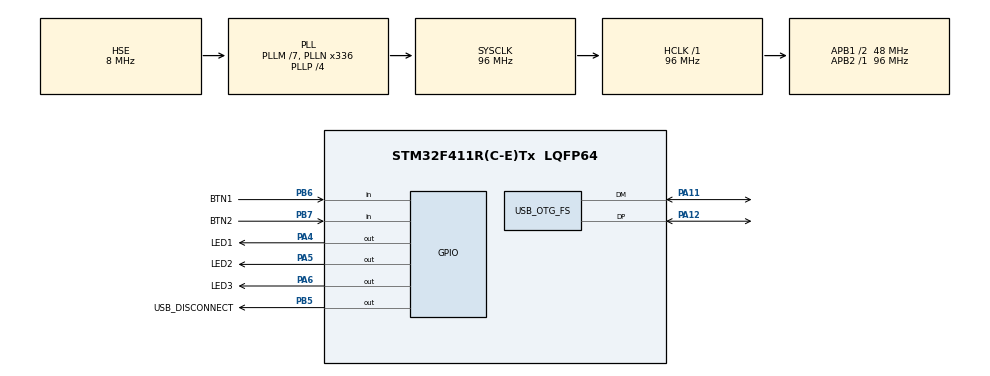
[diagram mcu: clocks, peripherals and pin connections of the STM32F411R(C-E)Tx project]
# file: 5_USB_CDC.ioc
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Mcu.Family=STM32F4
Mcu.Name=STM32F411R(C-E)Tx
Mcu.Package=LQFP64
NVIC.OTG_FS_IRQn=true\:0\:0\:false\:false\:true\:false\:true\:true
NVIC.PriorityGroup=NVIC_PRIORITYGROUP_4
PA11.Mode=Device_Only
PA11.Signal=USB_OTG_FS_DM
PA12.Mode=Device_Only
PA12.Signal=USB_OTG_FS_DP
PA13.Mode=Trace_Asynchronous_SW
PA13.Signal=SYS_JTMS-SWDIO
PA14.Mode=Trace_Asynchronous_SW
PA14.Signal=SYS_JTCK-SWCLK
PA4.GPIO_Label=LED1
PA4.Signal=GPIO_Output
PA5.GPIO_Label=LED2
PA5.Signal=GPIO_Output
PA6.GPIO_Label=LED3
PA6.Signal=GPIO_Output
PB3.Mode=Trace_Asynchronous_SW
PB3.Signal=SYS_JTDO-SWO
PB5.GPIO_Label=USB_DISCONNECT
PB5.Signal=GPIO_Output
PB6.GPIO_Label=BTN1
PB6.Signal=GPIO_Input
PB7.GPIO_Label=BTN2
PB7.Signal=GPIO_Input
PC14-OSC32_IN.Mode=LSE-External-Oscillator
PC14-OSC32_IN.Signal=RCC_OSC32_IN
PC15-OSC32_OUT.Mode=LSE-External-Oscillator
PC15-OSC32_OUT.Signal=RCC_OSC32_OUT
PH0\ -\ OSC_IN.Mode=HSE-External-Oscillator
PH0\ -\ OSC_IN.Signal=RCC_OSC_IN
PH1\ -\ OSC_OUT.Mode=HSE-External-Oscillator
PH1\ -\ OSC_OUT.Signal=RCC_OSC_OUT
ProjectManager.HeapSize=0x200
ProjectManager.StackSize=0x400
ProjectManager.TargetToolchain=EWARM V8.50
RCC.48MHZClocksFreq_Value=48000000.00000001
RCC.AHBFreq_Value=96000000.00000001
RCC.APB1CLKDivider=RCC_HCLK_DIV2
RCC.APB1Freq_Value=48000000.00000001
RCC.APB1TimFreq_Value=96000000.00000001
RCC.APB2Freq_Value=96000000.00000001
RCC.APB2TimFreq_Value=96000000.00000001
RCC.CortexFreq_Value=96000000.00000001
RCC.HCLKFreq_Value=96000000.00000001
RCC.HSE_VALUE=8000000
RCC.HSI_VALUE=16000000
RCC.PLLM=7
RCC.PLLN=336
RCC.PLLP=RCC_PLLP_DIV4
RCC.PLLQ=8
RCC.RCC_RTC_Clock_Source=RCC_RTCCLKSOURCE_LSE
RCC.RCC_RTC_Clock_SourceVirtual=RCC_RTCCLKSOURCE_LSE
RCC.SYSCLKFreq_VALUE=96000000.00000001
RCC.SYSCLKSource=RCC_SYSCLKSOURCE_PLLCLK
RCC.VCOOutputFreq_Value=384000000.00000006
USB_DEVICE.CLASS_NAME_FS=CDC
USB_DEVICE.VirtualMode=Cdc
USB_DEVICE.VirtualModeFS=Cdc_FS
USB_OTG_FS.VirtualMode=Device_Only
VP_CRC_VS_CRC.Mode=CRC_Activate
VP_USB_DEVICE_VS_USB_DEVICE_CDC_FS.Mode=CDC_FS
board=custom

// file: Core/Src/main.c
/* USER CODE BEGIN Header */
/**
  ******************************************************************************
  * @file           : main.c
  * @brief          : Main program body
  ******************************************************************************
  * @attention
  *
  * Copyright (c) 2024 STMicroelectronics.
  * All rights reserved.
  *
  * This software is licensed under terms that can be found in the LICENSE file
  * in the root directory of this software component.
  * If no LICENSE file comes with this software, it is provided AS-IS.
  *
  ******************************************************************************
  */
/* USER CODE END Header */
#include "main.h"
#include "usb_device.h"

/* USER CODE BEGIN PD */
#define BUF_LEN		(8192 / 32)
//#define BUF_LEN		(2200 / 2)	/* пакет данных с радара */
/* USER CODE END PD */

CRC_HandleTypeDef hcrc;

/* USER CODE BEGIN PV */
uint8_t buf[BUF_LEN];
/* USER CODE END PV */

void SystemClock_Config(void);
static void MX_GPIO_Init(void);
static void MX_CRC_Init(void);

int main(void)
{

  /* MCU Configuration--------------------------------------------------------*/

  /* Reset of all peripherals, Initializes the Flash interface and the Systick. */
  HAL_Init();

  /* Configure the system clock */
  SystemClock_Config();

  /* Initialize all configured peripherals */
  MX_GPIO_Init();
  MX_CRC_Init();
  MX_USB_DEVICE_Init();
  /* USER CODE BEGIN 2 */
	for(uint32_t i = 0; i < BUF_LEN; i++)
		buf[i] = 'g';
	buf[BUF_LEN - 2] = '\r';
	buf[BUF_LEN - 1] = '\n';
	HAL_Delay(30000);
	LED1_ON();
	uint32_t tickstart = HAL_GetTick();
  /* USER CODE END 2 */

  /* Infinite loop */
  while (1)
  {

    /* USER CODE BEGIN 3 */
	  CDC_Transmit_FS(buf, BUF_LEN); // отправляем в USB полученные данные
	  //HAL_Delay(1000);

	  if((HAL_GetTick() - tickstart) > 60000)
	  {
		  LED1_OFF();
		  LED2_ON();
		  LED3_ON();
		  while(1);
	  }
  }
  /* USER CODE END 3 */
}

void SystemClock_Config(void)
{
  RCC_OscInitTypeDef RCC_OscInitStruct = {0};
  RCC_ClkInitTypeDef RCC_ClkInitStruct = {0};

  /** Configure the main internal regulator output voltage
  */
  __HAL_RCC_PWR_CLK_ENABLE();
  __HAL_PWR_VOLTAGESCALING_CONFIG(PWR_REGULATOR_VOLTAGE_SCALE1);

  /** Initializes the RCC Oscillators according to the specified parameters
  * in the RCC_OscInitTypeDef structure.
  */
  RCC_OscInitStruct.OscillatorType = RCC_OSCILLATORTYPE_HSE;
  RCC_OscInitStruct.HSEState = RCC_HSE_ON;
  RCC_OscInitStruct.PLL.PLLState = RCC_PLL_ON;
  RCC_OscInitStruct.PLL.PLLSource = RCC_PLLSOURCE_HSE;
  RCC_OscInitStruct.PLL.PLLM = 7;
  RCC_OscInitStruct.PLL.PLLN = 336;
  RCC_OscInitStruct.PLL.PLLP = RCC_PLLP_DIV4;
  RCC_OscInitStruct.PLL.PLLQ = 8;
  if (HAL_RCC_OscConfig(&RCC_OscInitStruct) != HAL_OK)
  {
    Error_Handler();
  }

  /** Initializes the CPU, AHB and APB buses clocks
  */
  RCC_ClkInitStruct.ClockType = RCC_CLOCKTYPE_HCLK|RCC_CLOCKTYPE_SYSCLK
                              |RCC_CLOCKTYPE_PCLK1|RCC_CLOCKTYPE_PCLK2;
  RCC_ClkInitStruct.SYSCLKSource = RCC_SYSCLKSOURCE_PLLCLK;
  RCC_ClkInitStruct.AHBCLKDivider = RCC_SYSCLK_DIV1;
  RCC_ClkInitStruct.APB1CLKDivider = RCC_HCLK_DIV2;
  RCC_ClkInitStruct.APB2CLKDivider = RCC_HCLK_DIV1;

  if (HAL_RCC_ClockConfig(&RCC_ClkInitStruct, FLASH_LATENCY_3) != HAL_OK)
  {
    Error_Handler();
  }
}

static void MX_CRC_Init(void)
{

  hcrc.Instance = CRC;
  if (HAL_CRC_Init(&hcrc) != HAL_OK)
  {
    Error_Handler();
  }

}

static void MX_GPIO_Init(void)
{
  GPIO_InitTypeDef GPIO_InitStruct = {0};

  /* GPIO Ports Clock Enable */
  __HAL_RCC_GPIOC_CLK_ENABLE();
  __HAL_RCC_GPIOH_CLK_ENABLE();
  __HAL_RCC_GPIOA_CLK_ENABLE();
  __HAL_RCC_GPIOB_CLK_ENABLE();

  /*Configure GPIO pin Output Level */
  HAL_GPIO_WritePin(GPIOA, LED1_Pin|LED2_Pin|LED3_Pin, GPIO_PIN_RESET);

  /*Configure GPIO pin Output Level */
  HAL_GPIO_WritePin(USB_DISCONNECT_GPIO_Port, USB_DISCONNECT_Pin, GPIO_PIN_RESET);

  /*Configure GPIO pins : LED1_Pin LED2_Pin LED3_Pin */
  GPIO_InitStruct.Pin = LED1_Pin|LED2_Pin|LED3_Pin;
  GPIO_InitStruct.Mode = GPIO_MODE_OUTPUT_PP;
  GPIO_InitStruct.Pull = GPIO_NOPULL;
  GPIO_InitStruct.Speed = GPIO_SPEED_FREQ_LOW;
  HAL_GPIO_Init(GPIOA, &GPIO_InitStruct);

  /*Configure GPIO pin : USB_DISCONNECT_Pin */
  GPIO_InitStruct.Pin = USB_DISCONNECT_Pin;
  GPIO_InitStruct.Mode = GPIO_MODE_OUTPUT_PP;
  GPIO_InitStruct.Pull = GPIO_NOPULL;
  GPIO_InitStruct.Speed = GPIO_SPEED_FREQ_LOW;
  HAL_GPIO_Init(USB_DISCONNECT_GPIO_Port, &GPIO_InitStruct);

  /*Configure GPIO pins : BTN1_Pin BTN2_Pin */
  GPIO_InitStruct.Pin = BTN1_Pin|BTN2_Pin;
  GPIO_InitStruct.Mode = GPIO_MODE_INPUT;
  GPIO_InitStruct.Pull = GPIO_NOPULL;
  HAL_GPIO_Init(GPIOB, &GPIO_InitStruct);

}

void Error_Handler(void)
{
  __disable_irq();
  while (1)
  {
  }
}
